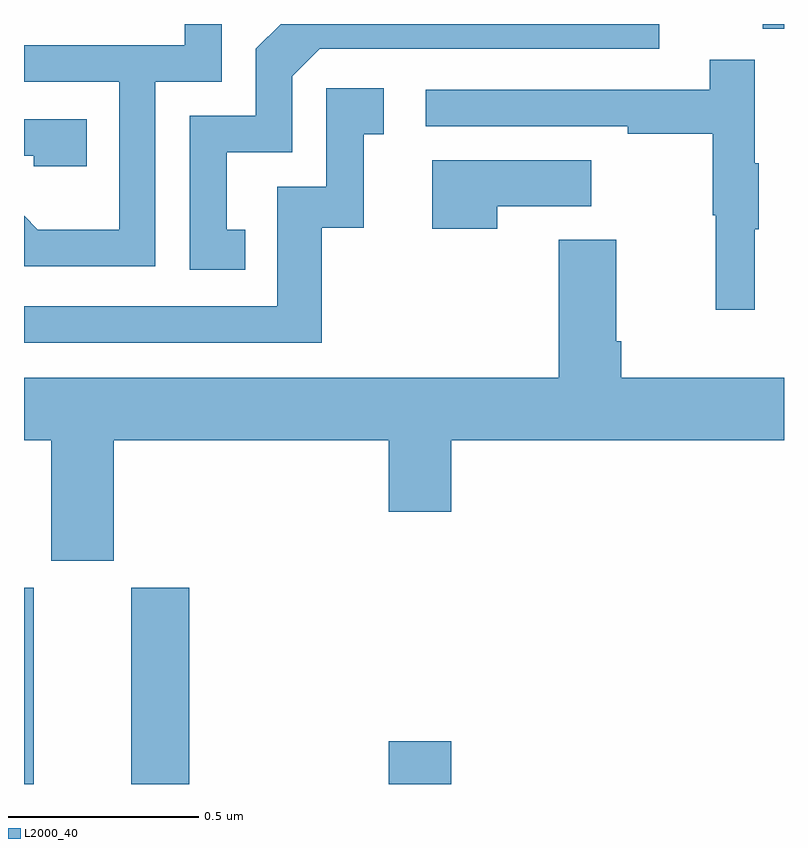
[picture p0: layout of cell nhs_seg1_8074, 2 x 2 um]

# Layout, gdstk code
import gdstk
lib = gdstk.Library(unit=1e-6, precision=1e-09)
def R(c, l, rs):  # rectangles x0, y0, x1, y1
    for r in rs: c.add(gdstk.rectangle(r[:2], r[2:], *l))
def P(c, l, *ps):  # polygons
    for p in ps: c.add(gdstk.Polygon(p, *l))
L2000_40 = (2000, 40)

nhs_seg1_8074 = lib.new_cell('nhs_seg1_8074')
R(nhs_seg1_8074, L2000_40, [(212,512.199,212.026,512.715), (212.282,512.199,212.435,512.715), (212.96,512.199,213.124,512.311), (213.944,514.186,214,514.199)])
P(nhs_seg1_8074, L2000_40, [(212.346,514.047),(212.52,514.047),(212.52,514.199),(212.423,514.199),(212.423,514.143),(212,514.143),(212,514.047),(212.25,514.047),(212.25,513.658),(212.036,513.658),(212,513.694),(212,513.561),(212.346,513.561)],
  [(212.582,513.657),(212.533,513.657),(212.533,513.861),(212.706,513.861),(212.706,514.062),(212.778,514.134),(213.672,514.134),(213.672,514.199),(212.675,514.199),(212.61,514.134),(212.61,513.957),(212.436,513.957),(212.436,513.552),(212.582,513.552)],
  [(213.923,513.659),(213.934,513.659),(213.934,513.833),(213.923,513.833),(213.923,514.105),(213.805,514.105),(213.805,514.026),(213.057,514.026),(213.057,513.93),(213.589,513.93),(213.589,513.91),(213.813,513.91),(213.813,513.696),(213.82,513.696),(213.82,513.447),(213.923,513.447)],
  [(212.783,513.663),(212.894,513.663),(212.894,513.909),(212.947,513.909),(212.947,514.03),(212.796,514.03),(212.796,513.771),(212.667,513.771),(212.667,513.456),(212,513.456),(212,513.36),(212.783,513.36)],
  [(212.165,513.948),(212,513.948),(212,513.852),(212.025,513.852),(212.025,513.825),(212.165,513.825)],
  [(213.245,513.719),(213.493,513.719),(213.493,513.841),(213.074,513.841),(213.074,513.66),(213.245,513.66)],
  [(213.559,513.364),(213.559,513.631),(213.407,513.631),(213.407,513.268),(212,513.268),(212,513.104),(212.072,513.104),(212.072,512.787),(212.236,512.787),(212.236,513.104),(212.96,513.104),(212.96,512.916),(213.124,512.916),(213.124,513.104),(214,513.104),(214,513.268),(213.572,513.268),(213.572,513.364)])

lib.write_gds('nhs_seg1_8074.gds')
